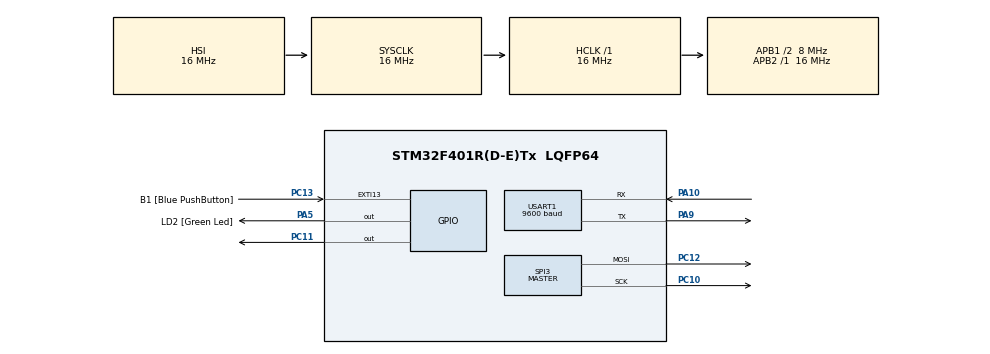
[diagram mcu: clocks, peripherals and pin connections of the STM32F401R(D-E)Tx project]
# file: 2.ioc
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Mcu.Family=STM32F4
Mcu.Name=STM32F401R(D-E)Tx
Mcu.Package=LQFP64
NVIC.PriorityGroup=NVIC_PRIORITYGROUP_0
NVIC.SPI3_IRQn=true\:0\:0\:false\:false\:true\:true\:true\:true
NVIC.USART1_IRQn=true\:0\:0\:false\:false\:true\:true\:true\:true
PA10.Mode=Asynchronous
PA10.Signal=USART1_RX
PA13.GPIO_Label=TMS
PA13.Mode=Serial_Wire
PA13.Signal=SYS_JTMS-SWDIO
PA14.GPIO_Label=TCK
PA14.Mode=Serial_Wire
PA14.Signal=SYS_JTCK-SWCLK
PA2.GPIO_Label=USART_TX
PA2.GPIO_Mode=GPIO_MODE_AF_PP
PA2.GPIO_PuPd=GPIO_NOPULL
PA2.GPIO_Speed=GPIO_SPEED_FREQ_LOW
PA2.Signal=USART2_TX
PA3.GPIO_Label=USART_RX
PA3.GPIO_Mode=GPIO_MODE_AF_PP
PA3.GPIO_PuPd=GPIO_NOPULL
PA3.GPIO_Speed=GPIO_SPEED_FREQ_LOW
PA3.Signal=USART2_RX
PA5.GPIO_Label=LD2 [Green Led]
PA5.GPIO_Mode=GPIO_MODE_OUTPUT_PP
PA5.GPIO_PuPd=GPIO_NOPULL
PA5.GPIO_Speed=GPIO_SPEED_FREQ_LOW
PA5.Signal=GPIO_Output
PA9.Mode=Asynchronous
PA9.Signal=USART1_TX
PB3.GPIO_Label=SWO
PB3.Signal=SYS_JTDO-SWO
PC10.Mode=TX_Only_Simplex_Unidirect_Master
PC10.Signal=SPI3_SCK
PC11.GPIO_PuPd=GPIO_PULLDOWN
PC11.Signal=GPIO_Output
PC12.Mode=TX_Only_Simplex_Unidirect_Master
PC12.Signal=SPI3_MOSI
PC13-ANTI_TAMP.GPIO_Label=B1 [Blue PushButton]
PC13-ANTI_TAMP.GPIO_ModeDefaultEXTI=GPIO_MODE_IT_FALLING
PC13-ANTI_TAMP.GPIO_PuPd=GPIO_NOPULL
PC13-ANTI_TAMP.Signal=GPXTI13
PC14-OSC32_IN.Mode=LSE-External-Oscillator
PC14-OSC32_IN.Signal=RCC_OSC32_IN
PC15-OSC32_OUT.Mode=LSE-External-Oscillator
PC15-OSC32_OUT.Signal=RCC_OSC32_OUT
PH0\ -\ OSC_IN.Mode=HSE-External-Clock-Source
PH0\ -\ OSC_IN.Signal=RCC_OSC_IN
PH1\ -\ OSC_OUT.Mode=HSE-External-Clock-Source
PH1\ -\ OSC_OUT.Signal=RCC_OSC_OUT
ProjectManager.HeapSize=0x200
ProjectManager.StackSize=0x400
ProjectManager.TargetToolchain=MDK-ARM V5.32
RCC.48MHZClocksFreq_Value=48000000
RCC.AHBFreq_Value=16000000
RCC.APB1CLKDivider=RCC_HCLK_DIV2
RCC.APB1Freq_Value=8000000
RCC.APB1TimFreq_Value=16000000
RCC.APB2Freq_Value=16000000
RCC.APB2TimFreq_Value=16000000
RCC.CortexFreq_Value=16000000
RCC.HCLKFreq_Value=16000000
RCC.HSE_VALUE=8000000
RCC.HSI_VALUE=16000000
RCC.PLLN=336
RCC.PLLP=RCC_PLLP_DIV4
RCC.PLLQ=7
RCC.SYSCLKFreq_VALUE=16000000
RCC.VCOOutputFreq_Value=336000000
SPI3.Direction=SPI_DIRECTION_2LINES
SPI3.Mode=SPI_MODE_MASTER
SPI3.VirtualType=VM_MASTER
TIM3.Period=99
TIM3.Prescaler=15999
USART1.BaudRate=9600
USART1.VirtualMode=VM_ASYNC
VP_TIM3_VS_ClockSourceINT.Mode=Internal
board=NUCLEO-F401RE

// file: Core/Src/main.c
/* USER CODE BEGIN Header */
/**
  ******************************************************************************
  * @file           : main.c
  * @brief          : Main program body
  ******************************************************************************
  * @attention
  *
  * Copyright (c) 2022 STMicroelectronics.
  * All rights reserved.
  *
  * This software is licensed under terms that can be found in the LICENSE file
  * in the root directory of this software component.
  * If no LICENSE file comes with this software, it is provided AS-IS.
  *
  ******************************************************************************
  */
/* USER CODE END Header */
#include "main.h"

/* USER CODE BEGIN PTD */
	float voltage;
/* USER CODE END PTD */

 SPI_HandleTypeDef hspi3;

TIM_HandleTypeDef htim3;

UART_HandleTypeDef huart1;

/* USER CODE BEGIN PV */
char RX_buffer[4];
/* USER CODE END PV */

void SystemClock_Config(void);
static void MX_GPIO_Init(void);
static void MX_SPI3_Init(void);
static void MX_TIM3_Init(void);
static void MX_USART1_UART_Init(void);

/* USER CODE BEGIN 0 */
void transmit(uint8_t add,uint8_t data){
uint8_t tx_buffer[0];
HAL_GPIO_WritePin(GPIOC,GPIO_PIN_11,0);
tx_buffer[0]=add;
HAL_SPI_Transmit(&hspi3,tx_buffer,1,0xffff);
tx_buffer[0]=data;
HAL_SPI_Transmit(&hspi3,tx_buffer,1,0xffff);
HAL_GPIO_WritePin(GPIOC,GPIO_PIN_11,1);

}
void max7219_init(){
	transmit(0x09,0xff); // ENABLE ENCODER FOR ALL 7SEG
	transmit(0x0A,0x0F); // MAX INTENSITY
	transmit(0x0B,0x03); // SCAN 4 7SEG
	transmit(0x0C,0x01); // TURN ON
	transmit(0x0f,0x0); // NORMAL OPERATION
}
void HAL_UART_RxCpltCallback(UART_HandleTypeDef *huart)
  {
		transmit(0x01,RX_buffer[0]);
		transmit(0x02,RX_buffer[1]);
		transmit(0x03,RX_buffer[2]);
		transmit(0x04,RX_buffer[3]);
		HAL_UART_Receive_IT(&huart1, RX_buffer, sizeof(RX_buffer));
  }
/* USER CODE END 0 */

int main(void)
{

  /* MCU Configuration--------------------------------------------------------*/

  /* Reset of all peripherals, Initializes the Flash interface and the Systick. */
  HAL_Init();

  /* Configure the system clock */
  SystemClock_Config();

  /* Initialize all configured peripherals */
  MX_GPIO_Init();
  MX_SPI3_Init();
  MX_TIM3_Init();
  MX_USART1_UART_Init();
  /* USER CODE BEGIN 2 */
	HAL_Delay(100);
	max7219_init();
  HAL_UART_Receive_IT(&huart1, RX_buffer, sizeof(RX_buffer));

  /* USER CODE END 2 */

  /* Infinite loop */
  while (1)
  {

}
}

void SystemClock_Config(void)
{
  RCC_OscInitTypeDef RCC_OscInitStruct = {0};
  RCC_ClkInitTypeDef RCC_ClkInitStruct = {0};

  /** Configure the main internal regulator output voltage
  */
  __HAL_RCC_PWR_CLK_ENABLE();
  __HAL_PWR_VOLTAGESCALING_CONFIG(PWR_REGULATOR_VOLTAGE_SCALE2);

  /** Initializes the RCC Oscillators according to the specified parameters
  * in the RCC_OscInitTypeDef structure.
  */
  RCC_OscInitStruct.OscillatorType = RCC_OSCILLATORTYPE_HSI;
  RCC_OscInitStruct.HSIState = RCC_HSI_ON;
  RCC_OscInitStruct.HSICalibrationValue = RCC_HSICALIBRATION_DEFAULT;
  RCC_OscInitStruct.PLL.PLLState = RCC_PLL_NONE;
  if (HAL_RCC_OscConfig(&RCC_OscInitStruct) != HAL_OK)
  {
    Error_Handler();
  }

  /** Initializes the CPU, AHB and APB buses clocks
  */
  RCC_ClkInitStruct.ClockType = RCC_CLOCKTYPE_HCLK|RCC_CLOCKTYPE_SYSCLK
                              |RCC_CLOCKTYPE_PCLK1|RCC_CLOCKTYPE_PCLK2;
  RCC_ClkInitStruct.SYSCLKSource = RCC_SYSCLKSOURCE_HSI;
  RCC_ClkInitStruct.AHBCLKDivider = RCC_SYSCLK_DIV1;
  RCC_ClkInitStruct.APB1CLKDivider = RCC_HCLK_DIV2;
  RCC_ClkInitStruct.APB2CLKDivider = RCC_HCLK_DIV1;

  if (HAL_RCC_ClockConfig(&RCC_ClkInitStruct, FLASH_LATENCY_0) != HAL_OK)
  {
    Error_Handler();
  }
}

static void MX_SPI3_Init(void)
{

  /* SPI3 parameter configuration*/
  hspi3.Instance = SPI3;
  hspi3.Init.Mode = SPI_MODE_MASTER;
  hspi3.Init.Direction = SPI_DIRECTION_2LINES;
  hspi3.Init.DataSize = SPI_DATASIZE_8BIT;
  hspi3.Init.CLKPolarity = SPI_POLARITY_LOW;
  hspi3.Init.CLKPhase = SPI_PHASE_1EDGE;
  hspi3.Init.NSS = SPI_NSS_SOFT;
  hspi3.Init.BaudRatePrescaler = SPI_BAUDRATEPRESCALER_2;
  hspi3.Init.FirstBit = SPI_FIRSTBIT_MSB;
  hspi3.Init.TIMode = SPI_TIMODE_DISABLE;
  hspi3.Init.CRCCalculation = SPI_CRCCALCULATION_DISABLE;
  hspi3.Init.CRCPolynomial = 10;
  if (HAL_SPI_Init(&hspi3) != HAL_OK)
  {
    Error_Handler();
  }

}

static void MX_TIM3_Init(void)
{

  TIM_ClockConfigTypeDef sClockSourceConfig = {0};
  TIM_MasterConfigTypeDef sMasterConfig = {0};

  htim3.Instance = TIM3;
  htim3.Init.Prescaler = 15999;
  htim3.Init.CounterMode = TIM_COUNTERMODE_UP;
  htim3.Init.Period = 99;
  htim3.Init.ClockDivision = TIM_CLOCKDIVISION_DIV1;
  htim3.Init.AutoReloadPreload = TIM_AUTORELOAD_PRELOAD_DISABLE;
  if (HAL_TIM_Base_Init(&htim3) != HAL_OK)
  {
    Error_Handler();
  }
  sClockSourceConfig.ClockSource = TIM_CLOCKSOURCE_INTERNAL;
  if (HAL_TIM_ConfigClockSource(&htim3, &sClockSourceConfig) != HAL_OK)
  {
    Error_Handler();
  }
  sMasterConfig.MasterOutputTrigger = TIM_TRGO_RESET;
  sMasterConfig.MasterSlaveMode = TIM_MASTERSLAVEMODE_DISABLE;
  if (HAL_TIMEx_MasterConfigSynchronization(&htim3, &sMasterConfig) != HAL_OK)
  {
    Error_Handler();
  }

}

static void MX_USART1_UART_Init(void)
{

  huart1.Instance = USART1;
  huart1.Init.BaudRate = 9600;
  huart1.Init.WordLength = UART_WORDLENGTH_8B;
  huart1.Init.StopBits = UART_STOPBITS_1;
  huart1.Init.Parity = UART_PARITY_NONE;
  huart1.Init.Mode = UART_MODE_TX_RX;
  huart1.Init.HwFlowCtl = UART_HWCONTROL_NONE;
  huart1.Init.OverSampling = UART_OVERSAMPLING_16;
  if (HAL_UART_Init(&huart1) != HAL_OK)
  {
    Error_Handler();
  }

}

static void MX_GPIO_Init(void)
{
  GPIO_InitTypeDef GPIO_InitStruct = {0};

  /* GPIO Ports Clock Enable */
  __HAL_RCC_GPIOC_CLK_ENABLE();
  __HAL_RCC_GPIOH_CLK_ENABLE();
  __HAL_RCC_GPIOA_CLK_ENABLE();
  __HAL_RCC_GPIOB_CLK_ENABLE();

  /*Configure GPIO pin Output Level */
  HAL_GPIO_WritePin(LD2_GPIO_Port, LD2_Pin, GPIO_PIN_RESET);

  /*Configure GPIO pin Output Level */
  HAL_GPIO_WritePin(GPIOC, GPIO_PIN_11, GPIO_PIN_RESET);

  /*Configure GPIO pin : B1_Pin */
  GPIO_InitStruct.Pin = B1_Pin;
  GPIO_InitStruct.Mode = GPIO_MODE_IT_FALLING;
  GPIO_InitStruct.Pull = GPIO_NOPULL;
  HAL_GPIO_Init(B1_GPIO_Port, &GPIO_InitStruct);

  /*Configure GPIO pins : USART_TX_Pin USART_RX_Pin */
  GPIO_InitStruct.Pin = USART_TX_Pin|USART_RX_Pin;
  GPIO_InitStruct.Mode = GPIO_MODE_AF_PP;
  GPIO_InitStruct.Pull = GPIO_NOPULL;
  GPIO_InitStruct.Speed = GPIO_SPEED_FREQ_LOW;
  GPIO_InitStruct.Alternate = GPIO_AF7_USART2;
  HAL_GPIO_Init(GPIOA, &GPIO_InitStruct);

  /*Configure GPIO pin : LD2_Pin */
  GPIO_InitStruct.Pin = LD2_Pin;
  GPIO_InitStruct.Mode = GPIO_MODE_OUTPUT_PP;
  GPIO_InitStruct.Pull = GPIO_NOPULL;
  GPIO_InitStruct.Speed = GPIO_SPEED_FREQ_LOW;
  HAL_GPIO_Init(LD2_GPIO_Port, &GPIO_InitStruct);

  /*Configure GPIO pin : PC11 */
  GPIO_InitStruct.Pin = GPIO_PIN_11;
  GPIO_InitStruct.Mode = GPIO_MODE_OUTPUT_PP;
  GPIO_InitStruct.Pull = GPIO_PULLDOWN;
  GPIO_InitStruct.Speed = GPIO_SPEED_FREQ_LOW;
  HAL_GPIO_Init(GPIOC, &GPIO_InitStruct);

}

void Error_Handler(void)
{
  __disable_irq();
  while (1)
  {
  }
}
